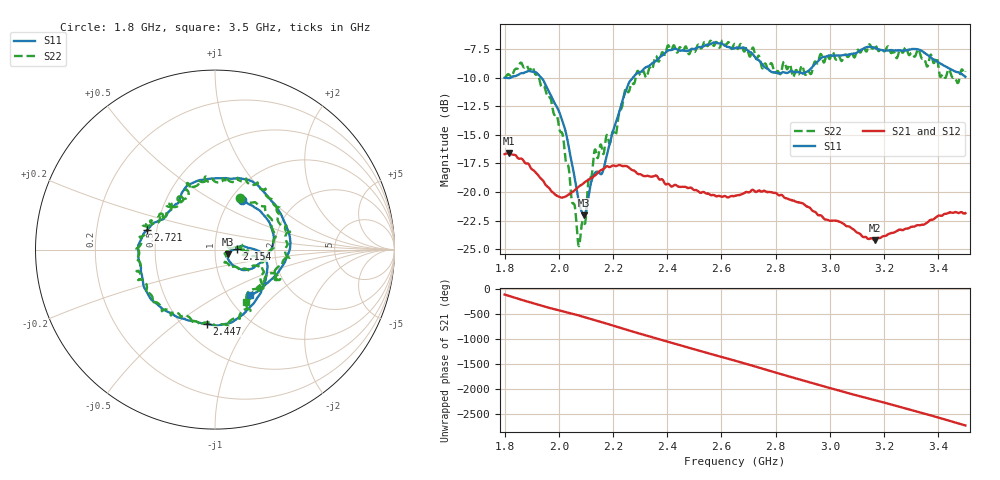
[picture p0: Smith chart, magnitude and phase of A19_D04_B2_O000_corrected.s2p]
! Created with skrf 1.9.0 (http://scikit-rf.org).
# Hz S RI R 50.0
!freq ReS11 ImS11 ReS21 ImS21 ReS12 ImS12 ReS22 ImS22
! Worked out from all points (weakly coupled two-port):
!   1601 points, 1.8 GHz to 3.5 GHz, reference 50 ohm
!   highest |S21| = -16.60 dB at 1.817 GHz (marker M1); lowest = -24.2 dB at 3.165 GHz (marker M2)
!   lowest |S11| = -22.0 dB at 2.092 GHz (marker M3), VSWR 1.17, Z = 58 - j3.11 ohm
!   |S11| at or under -10 dB: start of sweep to 1.822 GHz; 1.936 GHz to 2.273 GHz (337.7 MHz wide, 16 % of centre)
!   |S22| runs from -24.7 to -6.7 dB; largest |S21 - S12| = 0.0023
!   S11 on the Smith chart (normalised r, x): 1.8 GHz: 1.13, +0.70; 2.154 GHz: 1.27, +0.02; 2.447 GHz: 0.65, -0.65; 2.721 GHz: 0.44, +0.12; 3.5 GHz: 1.27, -0.71
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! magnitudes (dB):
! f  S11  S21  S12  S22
! 1.8 GHz  -10.0  -16.7  -16.7  -9.9
! 1.817 GHz  -10.0  -16.6  -16.6  -9.7
! 1.902 GHz  -9.5  -18.0  -18.0  -9.0
! 1.968 GHz  -11.4  -19.8  -19.8  -11.7
! 2.014 GHz  -13.8  -20.5  -20.5  -14.9
! 2.071 GHz  -20.5  -19.6  -19.6  -24.4
! 2.084 GHz  -21.7  -19.4  -19.3  -23.0
! 2.092 GHz  -22.0  -19.2  -19.3  -22.6
! 2.13 GHz  -18.4  -18.6  -18.6  -16.5
! 2.154 GHz  -18.4  -18.1  -18.1  -15.8
! 2.209 GHz  -14.0  -17.7  -17.7  -15.0
! 2.259 GHz  -10.4  -17.9  -17.9  -11.2
! 2.367 GHz  -8.3  -18.8  -18.7  -8.6
! 2.447 GHz  -7.6  -19.6  -19.5  -7.3
! 2.65 GHz  -7.4  -20.3  -20.3  -7.0
! 2.721 GHz  -8.1  -19.9  -19.8  -7.7
! 2.803 GHz  -9.6  -20.1  -20.1  -9.5
! 2.934 GHz  -9.1  -21.6  -21.5  -9.5
! 3.165 GHz  -7.4  -24.2  -24.2  -7.1
! 3.217 GHz  -7.6  -23.7  -23.6  -7.4
! 3.468 GHz  -9.5  -21.8  -21.8  -10.3
! 3.5 GHz  -9.9  -21.8  -21.8  -9.4
